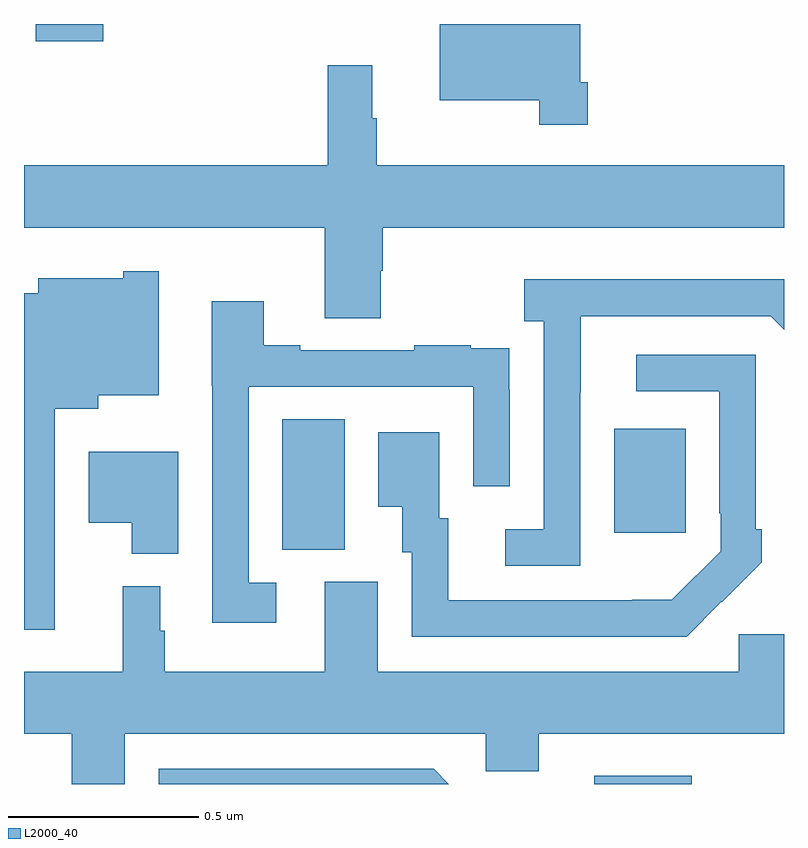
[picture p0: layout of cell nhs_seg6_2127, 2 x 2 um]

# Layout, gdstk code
import gdstk
lib = gdstk.Library(unit=1e-6, precision=1e-09)
def R(c, l, rs):  # rectangles x0, y0, x1, y1
    for r in rs: c.add(gdstk.rectangle(r[:2], r[2:], *l))
def P(c, l, *ps):  # polygons
    for p in ps: c.add(gdstk.Polygon(p, *l))
L2000_40 = (2000, 40)

nhs_seg6_2127 = lib.new_cell('nhs_seg6_2127')
R(nhs_seg6_2127, L2000_40, [(139.5,984.5,139.757,984.522), (138.68,985.117,138.844,985.46), (139.553,985.161,139.741,985.435), (138.031,986.454,138.209,986.5)])
P(nhs_seg6_2127, L2000_40, [(139.484,986.347),(139.464,986.347),(139.464,986.5),(139.094,986.5),(139.094,986.3),(139.356,986.3),(139.356,986.235),(139.484,986.235)],
  [(138.939,985.851),(138.944,985.851),(138.944,985.964),(140,985.964),(140,986.128),(138.928,986.128),(138.928,986.252),(138.916,986.252),(138.916,986.392),(138.799,986.392),(138.799,986.128),(138,986.128),(138,985.964),(138.791,985.964),(138.791,985.726),(138.939,985.726)],
  [(138.081,985.487),(138.196,985.487),(138.196,985.523),(138.355,985.523),(138.355,985.849),(138.261,985.849),(138.261,985.831),(138.038,985.831),(138.038,985.792),(138,985.792),(138,984.906),(138.081,984.906)],
  [(139.464,985.531),(139.465,985.531),(139.465,985.731),(139.965,985.731),(140,985.696),(140,985.828),(139.317,985.828),(139.317,985.718),(139.368,985.718),(139.368,985.17),(139.266,985.17),(139.266,985.074),(139.464,985.074)],
  [(138.664,985.029),(138.591,985.029),(138.591,985.545),(139.182,985.545),(139.182,985.284),(139.278,985.284),(139.278,985.538),(139.277,985.538),(139.277,985.647),(139.175,985.647),(139.175,985.654),(139.027,985.654),(139.027,985.641),(138.727,985.641),(138.727,985.654),(138.631,985.654),(138.631,985.771),(138.494,985.771),(138.494,985.548),(138.495,985.548),(138.495,984.924),(138.664,984.924)],
  [(139.835,984.979),(139.836,984.978),(139.941,985.083),(139.941,985.171),(139.926,985.171),(139.926,985.629),(139.611,985.629),(139.611,985.533),(139.83,985.533),(139.83,985.213),(139.833,985.213),(139.833,985.113),(139.705,984.985),(139.601,984.985),(139.601,984.984),(139.117,984.984),(139.117,985.2),(139.093,985.2),(139.093,985.426),(138.932,985.426),(138.932,985.229),(138.995,985.229),(138.995,985.11),(139.02,985.11),(139.02,984.888),(139.744,984.888)],
  [(138.406,985.375),(138.17,985.375),(138.17,985.187),(138.284,985.187),(138.284,985.106),(138.406,985.106)],
  [(138.265,984.632),(139.215,984.632),(139.215,984.534),(139.354,984.534),(139.354,984.632),(140,984.632),(140,984.894),(139.881,984.894),(139.881,984.796),(138.931,984.796),(138.931,985.032),(138.791,985.032),(138.791,984.796),(138.37,984.796),(138.37,984.903),(138.358,984.903),(138.358,985.021),(138.26,985.021),(138.26,984.796),(138,984.796),(138,984.632),(138.125,984.632),(138.125,984.5),(138.265,984.5)],
  [(139.078,984.54),(138.354,984.54),(138.354,984.5),(139.118,984.5)])

lib.write_gds('nhs_seg6_2127.gds')
